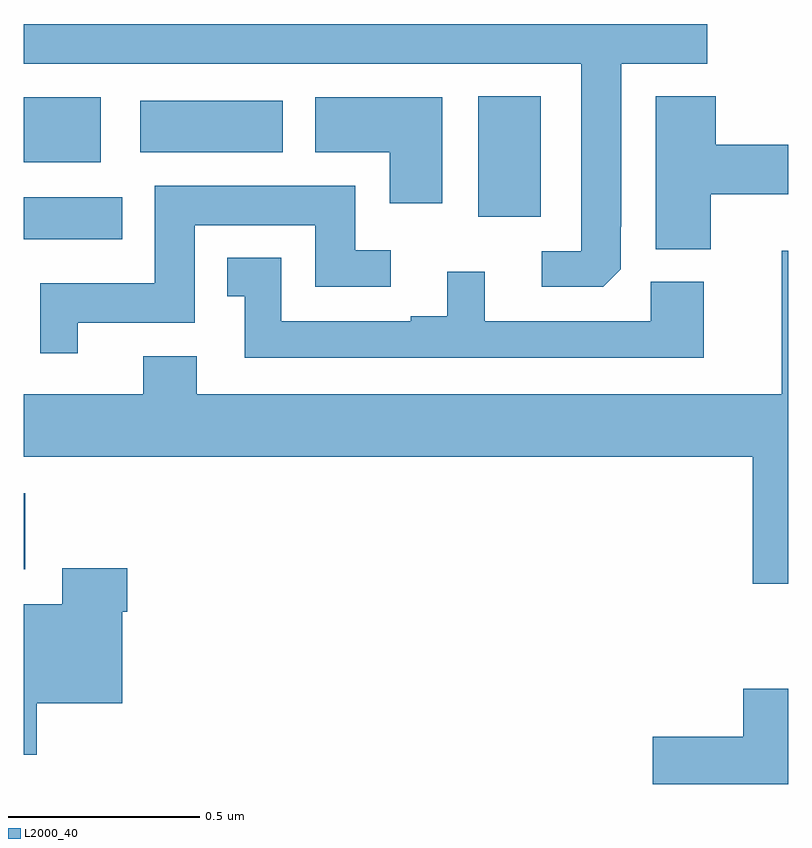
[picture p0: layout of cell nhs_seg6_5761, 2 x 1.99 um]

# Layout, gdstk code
import gdstk
lib = gdstk.Library(unit=1e-6, precision=1e-09)
def R(c, l, rs):  # rectangles x0, y0, x1, y1
    for r in rs: c.add(gdstk.rectangle(r[:2], r[2:], *l))
def P(c, l, *ps):  # polygons
    for p in ps: c.add(gdstk.Polygon(p, *l))
L2000_40 = (2000, 40)

nhs_seg6_5761 = lib.new_cell('nhs_seg6_5761')
R(nhs_seg6_5761, L2000_40, [(187,927.062,187.003,927.261), (187,927.926,187.258,928.036), (188.189,927.984,188.353,928.3), (187,928.127,187.201,928.297), (187.305,928.154,187.678,928.288)])
P(nhs_seg6_5761, L2000_40, [(188.562,927.847),(188.562,927.958),(188.563,927.958),(188.563,928.385),(188.788,928.385),(188.788,928.489),(187,928.489),(187,928.385),(188.459,928.385),(188.459,927.894),(188.355,927.894),(188.355,927.801),(188.516,927.801)],
  [(188.797,928.043),(189,928.043),(189,928.173),(188.81,928.173),(188.81,928.3),(188.654,928.3),(188.654,927.899),(188.797,927.899)],
  [(188.095,928.297),(187.763,928.297),(187.763,928.154),(187.958,928.154),(187.958,928.02),(188.095,928.02)],
  [(187.141,927.707),(187.447,927.707),(187.447,927.962),(187.763,927.962),(187.763,927.801),(187.96,927.801),(187.96,927.897),(187.867,927.897),(187.867,928.066),(187.343,928.066),(187.343,927.811),(187.043,927.811),(187.043,927.627),(187.141,927.627)],
  [(189,927.895),(188.984,927.895),(188.984,927.52),(187.453,927.52),(187.453,927.619),(187.313,927.619),(187.313,927.52),(187,927.52),(187,927.356),(188.908,927.356),(188.908,927.024),(189,927.024)],
  [(188.779,927.814),(188.64,927.814),(188.64,927.711),(188.206,927.711),(188.206,927.841),(188.108,927.841),(188.108,927.724),(188.012,927.724),(188.012,927.711),(187.674,927.711),(187.674,927.877),(187.532,927.877),(187.532,927.777),(187.578,927.777),(187.578,927.615),(188.779,927.615)],
  [(187.034,926.711),(187.258,926.711),(187.258,926.951),(187.271,926.951),(187.271,927.064),(187.1,927.064),(187.1,926.971),(187,926.971),(187,926.576),(187.034,926.576)],
  [(189,926.749),(188.882,926.749),(188.882,926.624),(188.646,926.624),(188.646,926.5),(189,926.5)])

lib.write_gds('nhs_seg6_5761.gds')
